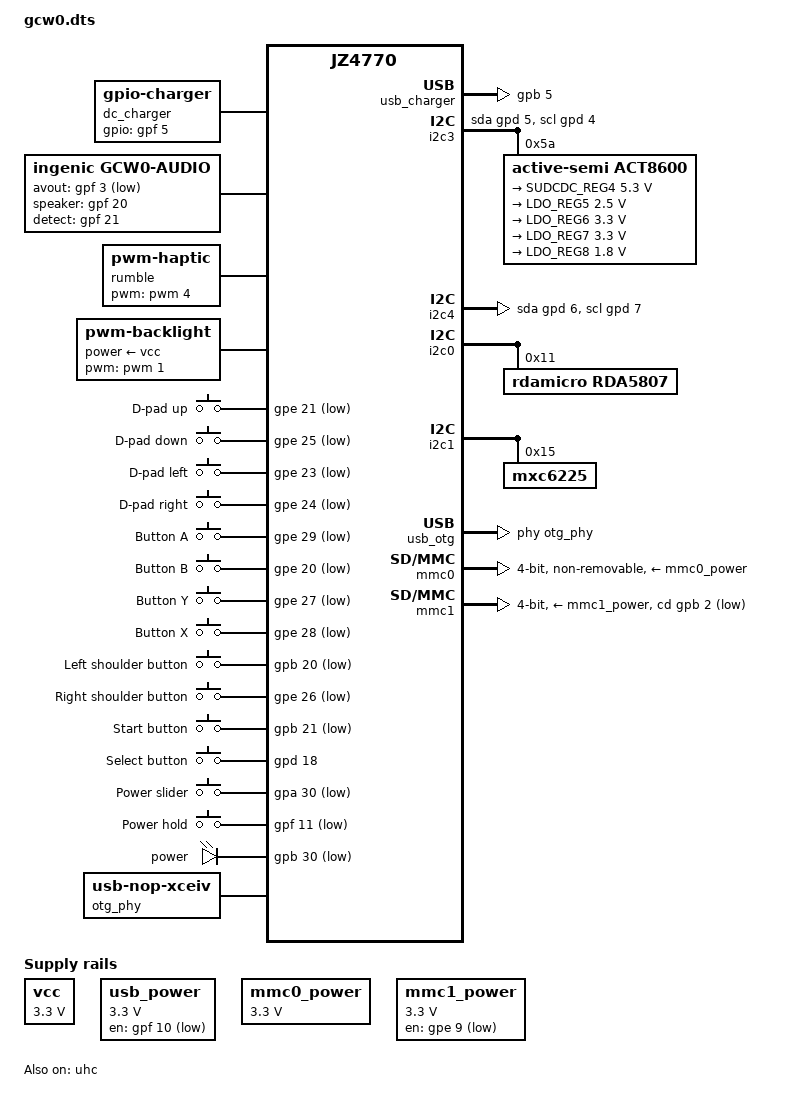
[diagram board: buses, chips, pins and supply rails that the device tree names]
/dts-v1/;

#include "jz4770.dtsi"

#include <dt-bindings/input/input.h>
#include <dt-bindings/gpio/gpio.h>
#include <dt-bindings/pwm/pwm.h>
#include <dt-bindings/sound/ingenic,jz4770-codec.h>

/ {
	compatible = "gcw,zero", "ingenic,jz4770";

	aliases {
		serial0 = &uart0;
		serial1 = &uart1;
		serial2 = &uart2;
		serial3 = &uart3;
	};

	chosen {
		stdout-path = "serial2:57600n8";
	};

	board {
		#address-cells = <1>;
		#size-cells = <1>;
		compatible = "simple-bus";
		ranges = <>;

		regulators {
			#address-cells = <1>;
			#size-cells = <1>;
			compatible = "simple-bus";
			ranges = <>;

			vcc: regulator@0 {
				compatible = "regulator-fixed";
				regulator-name = "vcc";

				regulator-min-microvolt = <3300000>;
				regulator-max-microvolt = <3300000>;
				regulator-always-on;
			};

			usb_power: regulator@1 {
				compatible = "regulator-fixed";
				regulator-name = "USB Power";
				gpio = <&gpf 10 GPIO_ACTIVE_HIGH>;

				regulator-min-microvolt = <3300000>;
				regulator-max-microvolt = <3300000>;
				power-supply = <&vcc>;
			};

			mmc0_power: regulator@2 {
				compatible = "regulator-fixed";
				regulator-name = "mmc0_vcc";
				regulator-always-on;

				regulator-min-microvolt = <3300000>;
				regulator-max-microvolt = <3300000>;
				power-supply = <&vcc>;
			};

			mmc1_power: regulator@3 {
				compatible = "regulator-fixed";
				regulator-name = "mmc1_vcc";
				gpio = <&gpe 9 GPIO_ACTIVE_LOW>;

				regulator-min-microvolt = <3300000>;
				regulator-max-microvolt = <3300000>;
				power-supply = <&vcc>;
			};
		};

		usb_charger: usb {
			compatible = "gpio-charger";
			charger-type = "usb-sdp";
			gpios = <&gpb 5 GPIO_ACTIVE_HIGH>;
			pinctrl-names = "default";
			pinctrl-0 = <&pins_usb_charger>;
		};

		dc_charger: dc {
			compatible = "gpio-charger";
			charger-type = "mains";
			gpios = <&gpf 5 GPIO_ACTIVE_HIGH>;
			pinctrl-names = "default";
			pinctrl-0 = <&pins_dc_charger>;
		};

		audio {
			compatible = "ingenic,gcw0-audio";
			ingenic,i2s-controller = <&i2s>;
			ingenic,codec = <&codec>;
			ingenic,mic-mode = <JZ4770_MIC_1>;

			avout-gpios = <&gpf 3 GPIO_ACTIVE_LOW>;
			speaker-gpios = <&gpf 20 GPIO_ACTIVE_HIGH>;
			detect-gpios = <&gpf 21 GPIO_ACTIVE_HIGH>;
		};

		rfkill {
			compatible = "rfkill-regulator";
			vrfkill-supply = <&usb_power>;
			rfkill-name = "gcw0-wifi";
			rfkill-type = <1>;
		};

		rumble {
			compatible = "pwm-haptic";
			pwms = <&pwm 4 2000000 0>;

			pinctrl-names = "default";
			pinctrl-0 = <&pinfunc_pwm4_data>;
		};

		backlight {
			compatible = "pwm-backlight";
			pwms = <&pwm 1 40000 0>;
			power-supply = <&vcc>;

			brightness-levels = <0 16 32 48 64 80 96 112 128 144 160 176 192 208 224 240 255>;
			default-brightness-level = <12>;

			pinctrl-names = "default";
			pinctrl-0 = <&pinfunc_pwm1_data>;
		};

		gpio-keys {
			compatible = "gpio-keys";
			#address-cells = <1>;
			#size-cells = <0>;

			autorepeat;

			button@0 {
				label = "D-pad up";
				linux,code = <KEY_UP>;
				gpios = <&gpe 21 GPIO_ACTIVE_LOW>;
				debounce-interval = <10>;
			};

			button@1 {
				label = "D-pad down";
				linux,code = <KEY_DOWN>;
				gpios = <&gpe 25 GPIO_ACTIVE_LOW>;
				debounce-interval = <10>;
			};

			button@2 {
				label = "D-pad left";
				linux,code = <KEY_LEFT>;
				gpios = <&gpe 23 GPIO_ACTIVE_LOW>;
				debounce-interval = <10>;
			};

			button@3 {
				label = "D-pad right";
				linux,code = <KEY_RIGHT>;
				gpios = <&gpe 24 GPIO_ACTIVE_LOW>;
				debounce-interval = <10>;
			};

			button@4 {
				label = "Button A";
				linux,code = <KEY_LEFTCTRL>;
				gpios = <&gpe 29 GPIO_ACTIVE_LOW>;
				debounce-interval = <10>;
			};

			button@5 {
				label = "Button B";
				linux,code = <KEY_LEFTALT>;
				gpios = <&gpe 20 GPIO_ACTIVE_LOW>;
				debounce-interval = <10>;
			};

			button@6 {
				label = "Button Y";
				linux,code = <KEY_SPACE>;
				gpios = <&gpe 27 GPIO_ACTIVE_LOW>;
				debounce-interval = <10>;
			};

			button@7 {
				label = "Button X";
				linux,code = <KEY_LEFTSHIFT>;
				gpios = <&gpe 28 GPIO_ACTIVE_LOW>;
				debounce-interval = <10>;
			};

			button@8 {
				label = "Left shoulder button";
				linux,code = <KEY_TAB>;
				gpios = <&gpb 20 GPIO_ACTIVE_LOW>;
				debounce-interval = <10>;
			};

			button@9 {
				label = "Right shoulder button";
				linux,code = <KEY_BACKSPACE>;
				gpios = <&gpe 26 GPIO_ACTIVE_LOW>;
				debounce-interval = <10>;
			};

			button@10 {
				label = "Start button";
				linux,code = <KEY_ENTER>;
				gpios = <&gpb 21 GPIO_ACTIVE_LOW>;
				debounce-interval = <10>;
			};

			button@11 {
				label = "Select button";
				linux,code = <KEY_ESC>;
				/* This is the only button that is active high,
				 * since it doubles as BOOT_SEL1.
				 */
				gpios = <&gpd 18 GPIO_ACTIVE_HIGH>;
				debounce-interval = <10>;
			};

			button@12 {
				label = "Power slider";
				linux,code = <KEY_POWER>;
				gpios = <&gpa 30 GPIO_ACTIVE_LOW>;
				debounce-interval = <10>;
				gpio-key,wakeup;
			};

			button@13 {
				label = "Power hold";
				linux,code = <KEY_PAUSE>;
				gpios = <&gpf 11 GPIO_ACTIVE_LOW>;
				debounce-interval = <10>;
			};
		};

		i2c3: i2c-act8600 {
			compatible = "i2c-gpio";
			gpios = <&gpd 5 GPIO_ACTIVE_HIGH	/* sda */
				 &gpd 4 GPIO_ACTIVE_HIGH	/* scl */
				>;
			#address-cells = <1>;
			#size-cells = <0>;
		};

		i2c4: i2c-it6610 {
			compatible = "i2c-gpio";
			gpios = <&gpd 6 GPIO_ACTIVE_HIGH	/* sda */
				 &gpd 7 GPIO_ACTIVE_HIGH	/* scl */
				>;
			#address-cells = <1>;
			#size-cells = <0>;
		};

		leds {
			compatible = "gpio-leds";

			power {
				gpios = <&gpb 30 GPIO_ACTIVE_LOW>;
				default-state = "on";
			};
		};

		otg_phy: otg_phy {
			compatible = "usb-nop-xceiv";
			clocks = <&cgu JZ4770_CLK_OTG_PHY>;
			clock-names = "main_clk";
		};
	};
};

&pinctrl {
	pinfunc_usb_charger: usb {
		pins_usb_charger: usb-charger {
			ingenic,pins = <&gpb 5 0 &pincfg_nobias>;
		};
	};

	pinfunc_dc_charger: dc {
		pins_dc_charger: dc-charger {
			ingenic,pins = <&gpf 5 0 &pincfg_nobias>;
		};
	};
};

&i2c0 {
	status = "okay";
	i2c-gpio,delay-us = <2>;		/* 250 kHz */

	rda5807@11 {				/* FM radio receiver */
		compatible = "rdamicro,rda5807";
		reg = <0x11>;
		lnap;
		lna-current = <2500>;
		analog-out;
	};
};

&i2c1 {
	status = "okay";
	i2c-gpio,delay-us = <2>;		/* 250 kHz */

	mxc6225@15 {				/* g-sensor */
		compatible = "mxc6225";
		reg = <0x15>;
	};
};

&i2c3 {
	i2c-gpio,delay-us = <2>;		/* 250 kHz */

	act8600: act8600@5a {			/* power management unit */
		compatible = "active-semi,act8600";
		reg = <0x5a>;

		regulators {
			/* USB OTG */
			SUDCDC_REG4 {
				/*
				 * 5.3V instead of 5.0V to compensate for the
				 * voltage drop of a diode between the regulator
				 * and the connector.
				 */
				regulator-min-microvolt = <5300000>;
				regulator-max-microvolt = <5300000>;
			};

			/* When this is off, there is no sound, but also no USB networking. */
			LDO_REG5 {
				regulator-min-microvolt = <2500000>;
				regulator-max-microvolt = <2500000>;
				regulator-always-on;
			};

			/* LCD panel and FM radio */
			LDO_REG6 {
				regulator-min-microvolt = <3300000>;
				regulator-max-microvolt = <3300000>;
			};

			/* ??? */
			LDO_REG7 {
				regulator-min-microvolt = <3300000>;
				regulator-max-microvolt = <3300000>;
				/*regulator-always-on;*/
			};

			/*
			 * The colors on the LCD are wrong when this is off.
			 * Which is strange, since the LCD panel data sheet
			 * only mentions a 3.3V input.
			 */
			LDO_REG8 {
				regulator-min-microvolt = <1800000>;
				regulator-max-microvolt = <1800000>;
			};

			/* RTC fixed 3.3V */
			LDO_REG9 {
				regulator-always-on;
			};

			/* Unused fixed 1.2V */
			LDO_REG10 { };
		};

		CHARGER { };
	};
};

&i2c4 {
	i2c-gpio,delay-us = <5>;		/* 100 kHz */

	/* the IT6610 is on this bus, but we don't have a driver for it yet */
};

&cgu {
	/* Put high-speed peripherals under PLL1, such that we can change the
	 * PLL0 frequency on demand without having to suspend peripherals.
	 * We use a rate of 432 MHz, which is the least common multiple of
	 * 27 MHz (required by TV encoder) and 48 MHz (required by USB host).
	 */
	assigned-clocks =
		<&cgu JZ4770_CLK_PLL1>,
		<&cgu JZ4770_CLK_UHC>,
		<&cgu JZ4770_CLK_LPCLK_MUX>,
		<&cgu JZ4770_CLK_MMC0_MUX>,
		<&cgu JZ4770_CLK_MMC1_MUX>;
	assigned-clock-parents =
		<0>,
		<&cgu JZ4770_CLK_PLL1>,
		<&cgu JZ4770_CLK_PLL1>,
		<&cgu JZ4770_CLK_PLL1>,
		<&cgu JZ4770_CLK_PLL1>;
	assigned-clock-rates =
		<432000000>;
};

&tcu {
	assigned-clocks = <&tcu JZ4770_CLK_OST>, <&tcu JZ4740_CLK_WDT>;
	assigned-clock-parents = <0>, <&rtc_clk>;
	assigned-clock-rates = <12000000>;
};

&battery {
	battery-name = "battery";
	technology = <3>; /* Lithium polymer */
	max-uV = <5700000>;
	min-uV = <4600000>;
	charger = <&act8600>;
	power-supplies = <&act8600>, <&usb_charger>, <&dc_charger>;
};

&uhc {
	/* The WiFi module is connected to the UHC. */
	status = "okay";
};

&usb_otg {
	usb-phy = <&otg_phy>;
	mode = <3>; /* MUSB_OTG */
	status = "okay";

	pinctrl-names = "default";
	pinctrl-0 = <&pins_otg_data>;
};

&uart2 {
	pinctrl-names = "default";
	pinctrl-0 = <&pins_uart2_data>;
};

&rtc {
	clocks = <&rtc_clk>;
	clock-names = "rtc";

	system-power-controller;
};

&lcdc {
	pinctrl-names = "default", "sleep";
	pinctrl-0 = <&pinfunc_lcd_rgb888>;
	pinctrl-1 = <&pinfunc_lcd_nopins>;
};

&mmc0 {
	bus-width = <4>;
	max-frequency = <48000000>;
	vmmc-supply = <&mmc0_power>;
	non-removable;

	pinctrl-names = "default";
	pinctrl-0 = <&pins_msc0_4bit>;
};

&mmc1 {
	bus-width = <4>;
	max-frequency = <48000000>;
	cd-gpios = <&gpb 2 GPIO_ACTIVE_LOW>;
	vmmc-supply = <&mmc1_power>;

	pinctrl-names = "default";
	pinctrl-0 = <&pins_msc1_4bit>;
};

&mmc2 {
	/* MMC2 is not used on the GCW0; disable it */
	status = "disabled";
};
